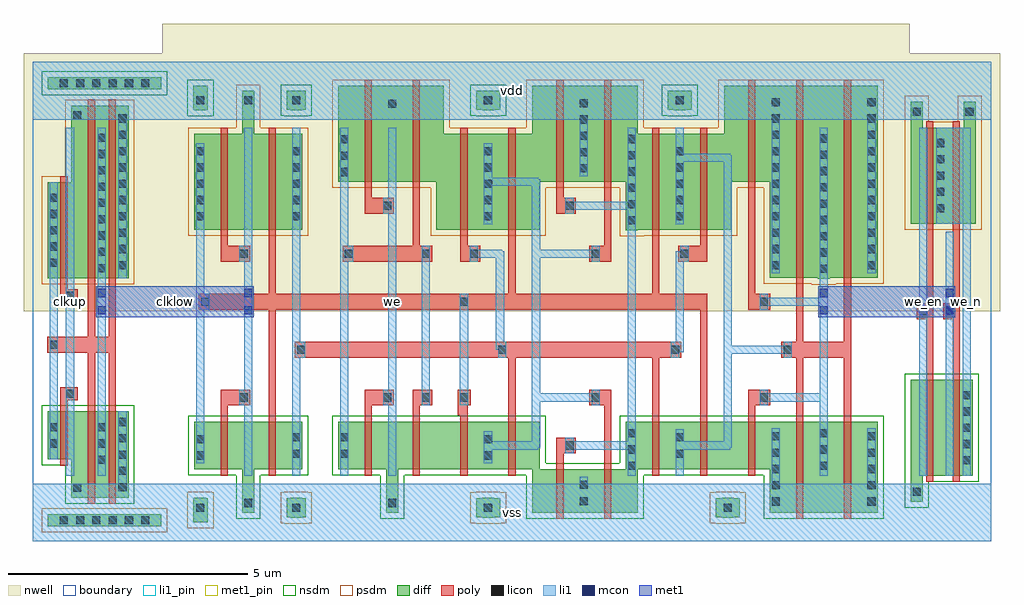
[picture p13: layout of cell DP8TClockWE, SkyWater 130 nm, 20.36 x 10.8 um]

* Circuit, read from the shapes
.subckt DP8TClockWE clklow clkup vdd vss we we_en we_n
XM1 vss clkup n1 VSUBS sky130_fd_pr__nfet_01v8 w=1 l=0.15
XM2 clklow n1 vss VSUBS sky130_fd_pr__nfet_01v8 w=1.8 l=0.15 m=2
XM3 vss clklow n2 VSUBS sky130_fd_pr__nfet_01v8 w=1 l=0.15
XM4 n3 n2 vss VSUBS sky130_fd_pr__nfet_01v8 w=1 l=0.15
XM5 vss we n4 VSUBS sky130_fd_pr__nfet_01v8 w=1 l=0.15
XM6 n5 n4 vss VSUBS sky130_fd_pr__nfet_01v8 w=1 l=0.15
XM7 n6 n2 n5 VSUBS sky130_fd_pr__nfet_01v8 w=1 l=0.15
XM8 n7 n3 n6 VSUBS sky130_fd_pr__nfet_01v8 w=1 l=0.15
XM9 vss n8 n7 VSUBS sky130_fd_pr__nfet_01v8 w=0.9 l=0.15
XM10 n8 n6 vss VSUBS sky130_fd_pr__nfet_01v8 w=0.9 l=0.15
XM11 n9 n3 n8 VSUBS sky130_fd_pr__nfet_01v8 w=1 l=0.15
XM12 n10 n2 n9 VSUBS sky130_fd_pr__nfet_01v8 w=1 l=0.15
XM13 vss nand2_x0_2/i1 n10 VSUBS sky130_fd_pr__nfet_01v8 w=1 l=0.15
XM14 nand2_x0_2/i1 n9 vss VSUBS sky130_fd_pr__nfet_01v8 w=1.9 l=0.15 m=2
XM15 n11 we_en vss VSUBS sky130_fd_pr__nfet_01v8 w=2 l=0.15
XM16 we_n nand2_x0_2/i1 n11 VSUBS sky130_fd_pr__nfet_01v8 w=2 l=0.15
XM17 vdd clkup n1 n12 sky130_fd_pr__pfet_01v8 w=2 l=0.15
XM18 clklow n1 vdd n12 sky130_fd_pr__pfet_01v8 w=3.6 l=0.15 m=2
XM19 vdd clklow n2 n12 sky130_fd_pr__pfet_01v8 w=2 l=0.15
XM20 n3 n2 vdd n12 sky130_fd_pr__pfet_01v8 w=2 l=0.15
XM21 vdd we n4 n12 sky130_fd_pr__pfet_01v8 w=2 l=0.15
XM22 n13 n4 vdd n12 sky130_fd_pr__pfet_01v8 w=2 l=0.15
XM23 n6 n3 n13 n12 sky130_fd_pr__pfet_01v8 w=2 l=0.15
XM24 n14 n2 n6 n12 sky130_fd_pr__pfet_01v8 w=2 l=0.15
XM25 vdd n8 n14 n12 sky130_fd_pr__pfet_01v8 w=2 l=0.15
XM26 n8 n6 vdd n12 sky130_fd_pr__pfet_01v8 w=2 l=0.15
XM27 n9 n2 n8 n12 sky130_fd_pr__pfet_01v8 w=2 l=0.15
XM28 n15 n3 n9 n12 sky130_fd_pr__pfet_01v8 w=2 l=0.15
XM29 vdd nand2_x0_2/i1 n15 n12 sky130_fd_pr__pfet_01v8 w=2 l=0.15
XM30 nand2_x0_2/i1 n9 vdd n12 sky130_fd_pr__pfet_01v8 w=4 l=0.15 m=2
XM31 we_n we_en vdd n12 sky130_fd_pr__pfet_01v8 w=2 l=0.15
XM32 vdd nand2_x0_2/i1 we_n n12 sky130_fd_pr__pfet_01v8 w=2 l=0.15
.ends

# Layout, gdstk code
import gdstk
lib = gdstk.Library(unit=1e-6, precision=1e-09)
def R(c, l, rs):  # rectangles x0, y0, x1, y1
    for r in rs: c.add(gdstk.rectangle(r[:2], r[2:], *l))
def A(c, l, x, y, w, h, nx, ny, dx, dy):  # array of equal rectangles
    R(c, l, [(x+i*dx, y+j*dy, x+i*dx+w, y+j*dy+h) for i in range(nx) for j in range(ny)])
def P(c, l, *ps):  # polygons
    for p in ps: c.add(gdstk.Polygon(p, *l))
nwell = (64, 20)
diff = (65, 20)
poly = (66, 20)
licon = (66, 44)
li1_pin = (67, 16)
li1 = (67, 20)
mcon = (67, 44)
met1_pin = (68, 16)
met1 = (68, 20)
nsdm = (93, 44)
psdm = (94, 20)
boundary = (235, 4)

buf_x2 = lib.new_cell('buf_x2')
R(buf_x2, nwell, [(-0.18,4.8,3.18,10.18), (0.625,8.5,1.235,9.27)])
R(buf_x2, diff, [(0.315,0.315,2.685,0.565), (0.315,9.435,2.685,9.685)])
P(buf_x2, diff, [(0.805,0.91),(0.805,1.71),(0.315,1.71),(0.315,2.71),(2,2.71),(2,0.91)],
  [(0.315,5.49),(0.315,7.49),(0.805,7.49),(0.805,9.09),(2,9.09),(2,5.49)])
P(buf_x2, poly, [(1.155,0.78),(1.155,3.935),(0.305,3.935),(0.305,4.265),(1.155,4.265),(1.155,9.22),(1.305,9.22),(1.305,4.265),(1.585,4.265),(1.585,9.22),(1.735,9.22),(1.735,0.78),(1.585,0.78),(1.585,3.935),(1.305,3.935),(1.305,0.78)],
  [(0.58,4.985),(0.58,7.62),(0.73,7.62),(0.73,5.255),(0.945,5.255),(0.945,4.985)],
  [(0.58,1.58),(0.58,3.215),(0.945,3.215),(0.945,2.945),(0.73,2.945),(0.73,1.58)])
A(buf_x2, licon, 0.565, 0.355, 0.17, 0.17, 6, 2, 0.34, 9.12)
A(buf_x2, licon, 1.79, 1.045, 0.17, 0.17, 1, 5, 0, 0.34)
A(buf_x2, licon, 1.36, 1.615, 0.17, 0.17, 1, 3, 0, 0.34)
A(buf_x2, licon, 1.36, 5.615, 0.17, 0.17, 1, 9, 0, 0.34)
A(buf_x2, licon, 1.79, 5.675, 0.17, 0.17, 1, 10, 0, 0.34)
A(buf_x2, licon, 0.355, 5.725, 0.17, 0.17, 1, 5, 0, 0.34)
R(buf_x2, licon, [(0.845,1.03,1.015,1.2), (0.355,1.955,0.525,2.125), (0.355,2.295,0.525,2.465), (0.695,2.995,0.865,3.165), (0.355,4.015,0.525,4.185), (0.695,5.035,0.865,5.205), (0.845,8.8,1.015,8.97)])
R(buf_x2, li1_pin, [(0,0,3,1.2), (0.695,1.37,0.865,8.63), (1.36,1.37,1.53,8.63), (0,8.8,3,10)])
R(buf_x2, li1, [(0.695,1.37,0.865,8.63), (1.36,1.37,1.53,8.63), (0.355,1.71,0.525,7.49)])
P(buf_x2, li1, [(1.79,5.49),(1.79,8.8),(0,8.8),(0,10),(3,10),(3,8.8),(1.96,8.8),(1.96,5.49)],
  [(0,0),(0,1.2),(1.79,1.2),(1.79,2.71),(1.96,2.71),(1.96,1.2),(3,1.2),(3,0)])
R(buf_x2, nsdm, [(0.19,9.31,2.81,9.81)])
P(buf_x2, nsdm, [(0.68,0.785),(0.68,1.585),(0.19,1.585),(0.19,2.835),(2.125,2.835),(2.125,0.785)])
R(buf_x2, psdm, [(0.19,0.19,2.81,0.69)])
P(buf_x2, psdm, [(0.19,5.365),(0.19,7.615),(0.68,7.615),(0.68,9.215),(2.125,9.215),(2.125,5.365)])
buf_x2.add(gdstk.Label('vdd', (1.5,9.4), layer=67, texttype=16))
buf_x2.add(gdstk.Label('vss', (1.5,0.6), layer=67, texttype=16))
buf_x2.add(gdstk.Label('i', (0.78,5), layer=67, texttype=16))
buf_x2.add(gdstk.Label('q', (1.445,5), layer=67, texttype=16))

sff1_x4 = lib.new_cell('sff1_x4')
R(sff1_x4, nwell, [(-0.3,4.8,15.3,10.8)])
P(sff1_x4, diff, [(0.375,6.5),(0.375,8.5),(1.375,8.5),(1.375,9.405),(1.625,9.405),(1.625,8.5),(2.625,8.5),(2.625,6.5)],
  [(1.375,0.595),(1.375,1.5),(0.375,1.5),(0.375,2.5),(2.625,2.5),(2.625,1.5),(1.625,1.5),(1.625,0.595)],
  [(13.375,5.48),(13.375,5.5),(12.375,5.5),(12.375,7.5),(11.575,7.5),(11.575,6.5),(9.625,6.5),(9.625,6.49),(9.375,6.49),(9.375,7.5),(7.575,7.5),(7.575,6.5),(5.425,6.5),(5.425,7.5),(3.375,7.5),(3.375,9.5),(5.575,9.5),(5.575,8.5),(7.425,8.5),(7.425,9.5),(9.625,9.5),(9.625,8.5),(11.425,8.5),(11.425,9.5),(14.625,9.5),(14.625,5.5),(13.625,5.5),(13.625,5.48)],
  [(6.375,8.995),(6.375,9),(6.25,9),(6.25,9.4),(6.375,9.4),(6.375,9.405),(6.625,9.405),(6.625,9.4),(6.75,9.4),(6.75,9),(6.625,9),(6.625,8.995)],
  [(2.375,8.995),(2.375,9),(2.3,9),(2.3,9.4),(2.375,9.4),(2.375,9.405),(2.625,9.405),(2.625,9.4),(2.7,9.4),(2.7,9),(2.625,9),(2.625,8.995)],
  [(0.375,8.995),(0.375,9),(0.35,9),(0.35,9.5),(0.65,9.5),(0.65,9),(0.625,9),(0.625,8.995)],
  [(10.375,8.995),(10.375,9),(10.25,9),(10.25,9.4),(10.375,9.4),(10.375,9.405),(10.625,9.405),(10.625,9.4),(10.75,9.4),(10.75,9),(10.625,9),(10.625,8.995)],
  [(4.375,0.595),(4.375,1.5),(3.375,1.5),(3.375,2.5),(7.575,2.5),(7.575,1.5),(9.375,1.5),(9.375,2.5),(14.625,2.5),(14.625,0.6),(12.375,0.6),(12.375,1.5),(9.625,1.5),(9.625,0.6),(7.425,0.6),(7.425,1.5),(4.625,1.5),(4.625,0.595)],
  [(6.375,0.495),(6.375,0.5),(6.25,0.5),(6.25,0.9),(6.375,0.9),(6.375,0.905),(6.625,0.905),(6.625,0.9),(6.75,0.9),(6.75,0.5),(6.625,0.5),(6.625,0.495)],
  [(2.375,0.495),(2.375,0.5),(2.3,0.5),(2.3,0.9),(2.375,0.9),(2.375,0.905),(2.625,0.905),(2.625,0.9),(2.7,0.9),(2.7,0.5),(2.625,0.5),(2.625,0.495)],
  [(11.375,0.495),(11.375,0.5),(11.25,0.5),(11.25,0.9),(11.375,0.9),(11.375,0.905),(11.625,0.905),(11.625,0.9),(11.75,0.9),(11.75,0.5),(11.625,0.5),(11.625,0.495)],
  [(0.35,0.4),(0.35,0.9),(0.375,0.9),(0.375,0.905),(0.625,0.905),(0.625,0.9),(0.65,0.9),(0.65,0.4)])
P(sff1_x4, poly, [(5.925,1.37),(5.925,2.63),(5.865,2.63),(5.865,3.165),(6.135,3.165),(6.135,2.835),(6.075,2.835),(6.075,1.37)],
  [(1.925,1.37),(1.925,4.835),(0.465,4.835),(0.465,5.165),(1.925,5.165),(1.925,8.63),(2.075,8.63),(2.075,5.165),(6.925,5.165),(6.925,8.63),(7.075,8.63),(7.075,5.165),(9.925,5.165),(9.925,8.63),(10.075,8.63),(10.075,5.165),(11.075,5.165),(11.075,1.37),(10.925,1.37),(10.925,4.835),(2.075,4.835),(2.075,1.37)],
  [(0.925,5.835),(0.925,8.63),(1.075,8.63),(1.075,6.165),(1.535,6.165),(1.535,5.835)],
  [(0.925,1.37),(0.925,3.165),(1.535,3.165),(1.535,2.835),(1.075,2.835),(1.075,1.37)],
  [(8.925,0.47),(8.925,2.835),(8.615,2.835),(8.615,3.165),(9.075,3.165),(9.075,0.47)],
  [(8.615,5.835),(8.615,6.165),(8.925,6.165),(8.925,9.63),(9.075,9.63),(9.075,5.835)],
  [(5.925,5.835),(5.925,8.63),(6.075,8.63),(6.075,6.165),(6.335,6.165),(6.335,5.835)],
  [(10.465,5.835),(10.465,6.165),(10.925,6.165),(10.925,8.63),(11.075,8.63),(11.075,5.835)],
  [(6.925,1.37),(6.925,3.835),(2.465,3.835),(2.465,4.165),(10.535,4.165),(10.535,3.835),(10.075,3.835),(10.075,1.37),(9.925,1.37),(9.925,3.835),(7.075,3.835),(7.075,1.37)],
  [(7.925,0.47),(7.925,2.165),(8.335,2.165),(8.335,1.835),(8.075,1.835),(8.075,0.47)],
  [(7.925,6.835),(7.925,9.63),(8.075,9.63),(8.075,7.165),(8.335,7.165),(8.335,6.835)],
  [(12.925,0.47),(12.925,3.835),(12.615,3.835),(12.615,4.165),(12.925,4.165),(12.925,9.63),(13.075,9.63),(13.075,4.165),(13.925,4.165),(13.925,9.63),(14.075,9.63),(14.075,0.47),(13.925,0.47),(13.925,3.835),(13.075,3.835),(13.075,0.47)],
  [(3.465,5.835),(3.465,6.165),(4.925,6.165),(4.925,9.63),(5.075,9.63),(5.075,6.165),(5.335,6.165),(5.335,5.835)],
  [(4.925,1.37),(4.925,3.165),(5.335,3.165),(5.335,2.835),(5.075,2.835),(5.075,1.37)],
  [(3.925,6.835),(3.925,9.63),(4.075,9.63),(4.075,7.165),(4.535,7.165),(4.535,6.835)],
  [(3.925,1.37),(3.925,3.165),(4.535,3.165),(4.535,2.835),(4.075,2.835),(4.075,1.37)],
  [(11.925,1.37),(11.925,3.165),(12.385,3.165),(12.385,2.835),(12.075,2.835),(12.075,1.37)],
  [(11.925,4.835),(11.925,9.63),(12.075,9.63),(12.075,5.165),(12.385,5.165),(12.385,4.835)])
A(sff1_x4, licon, 12.415, 0.745, 0.17, 0.17, 1, 5, 0, 0.34)
A(sff1_x4, licon, 14.415, 0.745, 0.17, 0.17, 1, 5, 0, 0.34)
A(sff1_x4, licon, 9.415, 1.49, 0.17, 0.17, 1, 3, 0, 0.34)
A(sff1_x4, licon, 13.415, 1.49, 0.17, 0.17, 1, 3, 0, 0.34)
A(sff1_x4, licon, 4.315, 2.915, 0.17, 0.17, 3, 1, 0.8, 0)
A(sff1_x4, licon, 13.415, 5.6, 0.17, 0.17, 1, 9, 0, 0.34)
A(sff1_x4, licon, 12.415, 5.675, 0.17, 0.17, 1, 11, 0, 0.34)
A(sff1_x4, licon, 14.415, 5.675, 0.17, 0.17, 1, 11, 0, 0.34)
A(sff1_x4, licon, 9.415, 6.61, 0.17, 0.17, 1, 6, 0, 0.34)
A(sff1_x4, licon, 0.415, 6.695, 0.17, 0.17, 1, 5, 0, 0.34)
A(sff1_x4, licon, 2.415, 6.695, 0.17, 0.17, 3, 5, 4, 0.34)
A(sff1_x4, licon, 3.415, 7.62, 0.17, 0.17, 1, 3, 0, 0.34)
A(sff1_x4, licon, 8.415, 7.695, 0.17, 0.17, 1, 5, 0, 0.34)
A(sff1_x4, licon, 0.415, 9.115, 0.17, 0.17, 3, 1, 1, 0)
R(sff1_x4, licon, [(0.415,0.615,0.585,0.785), (2.415,0.615,2.585,0.785), (6.415,0.615,6.585,0.785), (11.415,0.615,11.585,0.785), (1.415,0.715,1.585,0.885), (4.415,0.715,4.585,0.885), (8.415,0.755,8.585,0.925), (8.415,1.095,8.585,1.265), (0.415,1.705,0.585,1.875), (6.415,1.705,6.585,1.875), (2.415,1.745,2.585,1.915), (3.415,1.745,3.585,1.915), (10.415,1.745,10.585,1.915), (8.115,1.915,8.285,2.085), (0.415,2.045,0.585,2.215), (6.415,2.045,6.585,2.215), (2.415,2.085,2.585,2.255), (3.415,2.085,3.585,2.255), (10.415,2.085,10.585,2.255), (1.315,2.915,1.485,3.085), (8.665,2.915,8.835,3.085), (12.165,2.915,12.335,3.085), (2.515,3.915,2.685,4.085), (6.715,3.915,6.885,4.085), (10.315,3.915,10.485,4.085), (12.665,3.915,12.835,4.085), (0.515,4.915,0.685,5.085), (5.915,4.915,6.085,5.085), (12.165,4.915,12.335,5.085), (1.315,5.915,1.485,6.085), (3.515,5.915,3.685,6.085), (5.115,5.915,5.285,6.085), (6.115,5.915,6.285,6.085), (8.665,5.915,8.835,6.085), (10.515,5.915,10.685,6.085), (4.315,6.915,4.485,7.085), (8.115,6.915,8.285,7.085), (4.415,9.045,4.585,9.215), (6.415,9.115,6.585,9.285), (10.415,9.115,10.585,9.285)])
R(sff1_x4, li1_pin, [(0,0,15,1.2), (1.415,1.37,1.585,8.63), (4.415,1.37,4.585,8.63), (13.415,1.37,13.585,8.63), (0,8.8,15,10)])
R(sff1_x4, li1, [(5.115,2.835,5.285,6.165), (5.915,2.835,6.085,5.165)])
P(sff1_x4, li1, [(0.415,1.625),(0.415,8.305),(0.585,8.305),(0.585,5.165),(0.685,5.165),(0.685,4.835),(0.585,4.835),(0.585,1.625)],
  [(12.415,5.595),(12.415,8.8),(8.585,8.8),(8.585,7.615),(8.415,7.615),(8.415,8.8),(0,8.8),(0,10),(15,10),(15,8.8),(14.585,8.8),(14.585,5.595),(14.415,5.595),(14.415,8.8),(12.585,8.8),(12.585,5.595)],
  [(1.415,1.37),(1.415,2.835),(1.315,2.835),(1.315,3.165),(1.415,3.165),(1.415,5.835),(1.315,5.835),(1.315,6.165),(1.415,6.165),(1.415,8.63),(1.585,8.63),(1.585,1.37)],
  [(0,0),(0,1.2),(8.415,1.2),(8.415,1.345),(8.585,1.345),(8.585,1.2),(12.415,1.2),(12.415,2.355),(12.585,2.355),(12.585,1.2),(14.415,1.2),(14.415,2.355),(14.585,2.355),(14.585,1.2),(15,1.2),(15,0)],
  [(6.415,1.625),(6.415,2.295),(6.585,2.295),(6.585,2.085),(7.415,2.085),(7.415,7.415),(6.585,7.415),(6.585,6.615),(6.415,6.615),(6.415,8.305),(6.585,8.305),(6.585,7.585),(7.55,7.585),(7.55,7.55),(7.585,7.55),(7.585,6.085),(8.665,6.085),(8.665,6.165),(8.835,6.165),(8.835,5.835),(8.665,5.835),(8.665,5.915),(7.585,5.915),(7.585,3.085),(8.665,3.085),(8.665,3.165),(8.835,3.165),(8.835,2.835),(8.665,2.835),(8.665,2.915),(7.585,2.915),(7.585,1.95),(7.55,1.95),(7.55,1.915),(6.585,1.915),(6.585,1.625)],
  [(6.715,3.835),(6.715,3.995),(6.665,3.995),(6.665,5.915),(6.285,5.915),(6.285,5.835),(6.115,5.835),(6.115,6.165),(6.285,6.165),(6.285,6.085),(6.8,6.085),(6.8,6.05),(6.835,6.05),(6.835,4.165),(6.885,4.165),(6.885,3.835)],
  [(2.415,1.37),(2.415,8.63),(2.585,8.63),(2.585,4.165),(2.685,4.165),(2.685,3.835),(2.585,3.835),(2.585,1.37)],
  [(10.315,3.835),(10.315,4.165),(10.415,4.165),(10.415,6.05),(10.515,6.05),(10.515,6.165),(10.685,6.165),(10.685,5.835),(10.585,5.835),(10.585,3.95),(10.485,3.95),(10.485,3.835)],
  [(9.415,1.37),(9.415,1.915),(8.285,1.915),(8.285,1.835),(8.115,1.835),(8.115,2.165),(8.285,2.165),(8.285,2.085),(9.415,2.085),(9.415,6.915),(8.285,6.915),(8.285,6.835),(8.115,6.835),(8.115,7.165),(8.285,7.165),(8.285,7.085),(9.415,7.085),(9.415,8.63),(9.585,8.63),(9.585,1.37)],
  [(10.415,1.37),(10.415,2.335),(10.585,2.335),(10.585,2.085),(11.415,2.085),(11.415,7.915),(10.585,7.915),(10.585,6.615),(10.415,6.615),(10.415,8.63),(10.585,8.63),(10.585,8.085),(11.55,8.085),(11.55,8.05),(11.585,8.05),(11.585,4.085),(12.665,4.085),(12.665,4.165),(12.835,4.165),(12.835,3.835),(12.665,3.835),(12.665,3.915),(11.585,3.915),(11.585,1.95),(11.55,1.95),(11.55,1.915),(10.585,1.915),(10.585,1.37)],
  [(3.415,1.37),(3.415,8.63),(3.585,8.63),(3.585,6.165),(3.685,6.165),(3.685,5.835),(3.585,5.835),(3.585,1.37)],
  [(4.415,1.37),(4.415,2.835),(4.315,2.835),(4.315,3.165),(4.415,3.165),(4.415,6.835),(4.315,6.835),(4.315,7.165),(4.415,7.165),(4.415,8.63),(4.585,8.63),(4.585,1.37)],
  [(13.415,1.37),(13.415,2.915),(12.335,2.915),(12.335,2.835),(12.165,2.835),(12.165,3.165),(12.335,3.165),(12.335,3.085),(13.415,3.085),(13.415,4.915),(12.335,4.915),(12.335,4.835),(12.165,4.835),(12.165,5.165),(12.335,5.165),(12.335,5.085),(13.415,5.085),(13.415,8.63),(13.585,8.63),(13.585,1.37)])
P(sff1_x4, nsdm, [(6.25,8.87),(6.25,8.875),(6.125,8.875),(6.125,9.525),(6.25,9.525),(6.25,9.53),(6.75,9.53),(6.75,9.525),(6.875,9.525),(6.875,8.875),(6.75,8.875),(6.75,8.87)],
  [(0.25,8.87),(0.25,8.875),(0.225,8.875),(0.225,9.625),(0.775,9.625),(0.775,8.875),(0.75,8.875),(0.75,8.87)],
  [(4.25,0.47),(4.25,1.375),(3.25,1.375),(3.25,2.625),(7.7,2.625),(7.7,1.625),(9.25,1.625),(9.25,2.625),(14.75,2.625),(14.75,0.475),(12.25,0.475),(12.25,1.375),(9.75,1.375),(9.75,0.475),(7.3,0.475),(7.3,1.375),(4.75,1.375),(4.75,0.47)],
  [(2.25,8.87),(2.25,8.875),(2.175,8.875),(2.175,9.525),(2.25,9.525),(2.25,9.53),(2.75,9.53),(2.75,9.525),(2.825,9.525),(2.825,8.875),(2.75,8.875),(2.75,8.87)],
  [(10.25,8.87),(10.25,8.875),(10.125,8.875),(10.125,9.525),(10.25,9.525),(10.25,9.53),(10.75,9.53),(10.75,9.525),(10.875,9.525),(10.875,8.875),(10.75,8.875),(10.75,8.87)],
  [(1.25,0.47),(1.25,1.375),(0.25,1.375),(0.25,2.625),(2.75,2.625),(2.75,1.375),(1.75,1.375),(1.75,0.47)])
P(sff1_x4, psdm, [(2.25,0.37),(2.25,0.375),(2.175,0.375),(2.175,1.025),(2.25,1.025),(2.25,1.03),(2.75,1.03),(2.75,1.025),(2.825,1.025),(2.825,0.375),(2.75,0.375),(2.75,0.37)],
  [(0.25,6.375),(0.25,8.625),(1.25,8.625),(1.25,9.53),(1.75,9.53),(1.75,8.625),(2.75,8.625),(2.75,6.375)],
  [(13.25,5.355),(13.25,5.375),(12.25,5.375),(12.25,7.375),(11.7,7.375),(11.7,6.375),(9.75,6.375),(9.75,6.365),(9.25,6.365),(9.25,7.375),(7.7,7.375),(7.7,6.375),(5.3,6.375),(5.3,7.375),(3.25,7.375),(3.25,9.625),(5.7,9.625),(5.7,8.625),(7.3,8.625),(7.3,9.625),(9.75,9.625),(9.75,8.625),(11.3,8.625),(11.3,9.625),(14.75,9.625),(14.75,5.375),(13.75,5.375),(13.75,5.355)],
  [(11.25,0.37),(11.25,0.375),(11.125,0.375),(11.125,1.025),(11.25,1.025),(11.25,1.03),(11.75,1.03),(11.75,1.025),(11.875,1.025),(11.875,0.375),(11.75,0.375),(11.75,0.37)],
  [(6.25,0.37),(6.25,0.375),(6.125,0.375),(6.125,1.025),(6.25,1.025),(6.25,1.03),(6.75,1.03),(6.75,1.025),(6.875,1.025),(6.875,0.375),(6.75,0.375),(6.75,0.37)],
  [(0.225,0.275),(0.225,1.025),(0.25,1.025),(0.25,1.03),(0.75,1.03),(0.75,1.025),(0.775,1.025),(0.775,0.275)])
sff1_x4.add(gdstk.Label('vdd', (7.5,9.4), layer=67, texttype=16))
sff1_x4.add(gdstk.Label('ck', (1.5,5), layer=67, texttype=16))
sff1_x4.add(gdstk.Label('vss', (7.5,0.6), layer=67, texttype=16))
sff1_x4.add(gdstk.Label('i', (4.5,5), layer=67, texttype=16))
sff1_x4.add(gdstk.Label('q', (13.5,5), layer=67, texttype=16))

nand2_x0 = lib.new_cell('nand2_x0')
R(nand2_x0, nwell, [(-0.18,4.8,2.18,10.18), (0.625,6.45,1.235,8.81)])
P(nand2_x0, diff, [(0.315,0.83),(0.315,3.37),(1.61,3.37),(1.61,1.37),(0.565,1.37),(0.565,0.83)],
  [(0.315,6.63),(0.315,9.17),(0.565,9.17),(0.565,8.63),(1.42,8.63),(1.42,9.17),(1.67,9.17),(1.67,6.63)])
P(nand2_x0, poly, [(0.64,1.24),(0.64,4.635),(0.445,4.635),(0.445,4.965),(0.64,4.965),(0.64,8.76),(0.79,8.76),(0.79,1.24)],
  [(1.195,1.24),(1.195,4.635),(1,4.635),(1,4.965),(1.195,4.965),(1.195,8.76),(1.345,8.76),(1.345,1.24)])
A(nand2_x0, licon, 1.4, 1.605, 0.17, 0.17, 1, 5, 0, 0.34)
A(nand2_x0, licon, 0.845, 6.865, 0.17, 0.17, 1, 5, 0, 0.34)
R(nand2_x0, licon, [(0.355,0.95,0.525,1.12), (0.495,4.715,0.665,4.885), (1.05,4.715,1.22,4.885), (0.355,8.88,0.525,9.05), (1.46,8.88,1.63,9.05)])
R(nand2_x0, li1_pin, [(0,0,2,1.2), (0.495,1.37,0.665,8.63), (1.05,1.37,1.22,6.46), (1.4,1.37,1.57,8.63), (0,8.8,2,10)])
R(nand2_x0, li1, [(0,0,2,1.2), (0.495,1.37,0.665,8.63), (1.05,1.37,1.22,6.46), (0,8.8,2,10)])
P(nand2_x0, li1, [(1.4,1.37),(1.4,6.63),(0.845,6.63),(0.845,8.63),(1.57,8.63),(1.57,1.37)])
P(nand2_x0, nsdm, [(0.19,0.705),(0.19,3.495),(1.735,3.495),(1.735,1.245),(0.69,1.245),(0.69,0.705)])
P(nand2_x0, psdm, [(0.19,6.505),(0.19,9.295),(0.69,9.295),(0.69,8.755),(1.295,8.755),(1.295,9.295),(1.795,9.295),(1.795,6.505)])
nand2_x0.add(gdstk.Label('vss', (1,0.6), layer=67, texttype=16))
nand2_x0.add(gdstk.Label('vdd', (1,9.4), layer=67, texttype=16))
nand2_x0.add(gdstk.Label('i0', (0.58,5), layer=67, texttype=16))
nand2_x0.add(gdstk.Label('nq', (1.485,5), layer=67, texttype=16))
nand2_x0.add(gdstk.Label('i1', (1.135,3.915), layer=67, texttype=16))

dp8tclockwe = lib.new_cell('DP8TClockWE')
R(dp8tclockwe, li1_pin, [(0,0,20,1.2), (0.695,1.37,0.865,8.63), (7.415,1.37,7.585,8.63), (18.495,1.37,18.665,8.63), (19.4,1.37,19.57,8.63), (0,8.8,20,10)])
R(dp8tclockwe, li1, [(0,0,20,1.2), (0.695,1.37,0.865,8.63), (7.415,1.37,7.585,8.63), (18.495,1.37,18.665,8.63), (19.4,1.37,19.57,8.63), (1.36,4.735,1.53,5.265), (4.415,4.735,4.585,5.265), (16.415,4.735,16.585,5.265), (19.05,4.735,19.22,5.265), (0,8.8,20,10)])
R(dp8tclockwe, mcon, [(1.36,4.735,1.53,4.905), (4.415,4.735,4.585,4.905), (16.415,4.735,16.585,4.905), (19.05,4.735,19.22,4.905), (1.36,5.095,1.53,5.265), (4.415,5.095,4.585,5.265), (16.415,5.095,16.585,5.265), (19.05,5.095,19.22,5.265)])
R(dp8tclockwe, met1_pin, [(1.33,4.675,4.615,5.325)])
R(dp8tclockwe, met1, [(1.33,4.675,4.615,5.325), (16.385,4.675,19.25,5.325)])
R(dp8tclockwe, boundary, [(0,0,20,10)])
dp8tclockwe.add(gdstk.Reference(buf_x2, (0,0)))
dp8tclockwe.add(gdstk.Reference(sff1_x4, (3,0)))
dp8tclockwe.add(gdstk.Reference(nand2_x0, (18,0)))
dp8tclockwe.add(gdstk.Label('clklow', (2.973,5), layer=68, texttype=16))
dp8tclockwe.add(gdstk.Label('clkup', (0.78,5), layer=67, texttype=16))
dp8tclockwe.add(gdstk.Label('we', (7.5,5), layer=67, texttype=16))
dp8tclockwe.add(gdstk.Label('we_en', (18.58,5), layer=67, texttype=16))
dp8tclockwe.add(gdstk.Label('we_n', (19.485,5), layer=67, texttype=16))
dp8tclockwe.add(gdstk.Label('vss', (10,0.6), layer=67, texttype=16))
dp8tclockwe.add(gdstk.Label('vdd', (10,9.4), layer=67, texttype=16))

lib.write_gds('DP8TClockWE.gds')
